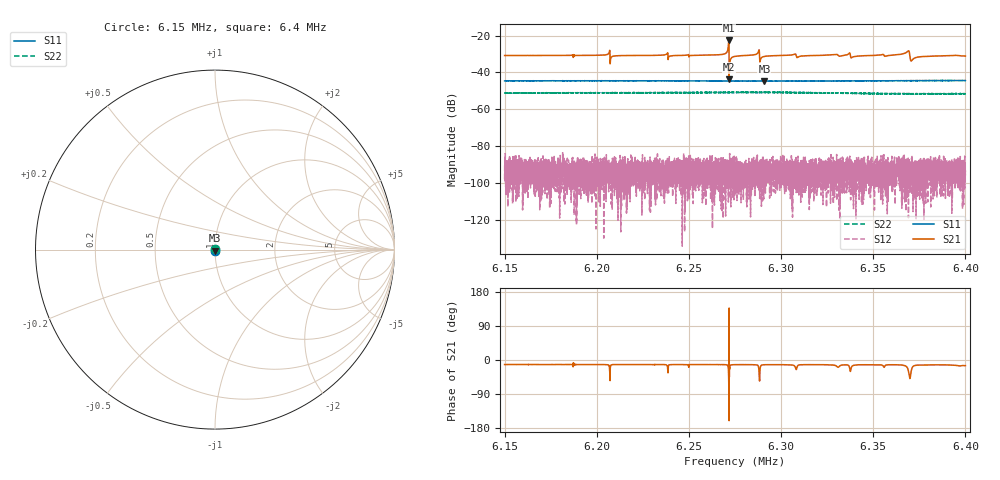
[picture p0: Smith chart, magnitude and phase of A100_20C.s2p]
!CETC41,AV3656A,ZGL00048,1.3.2
!Calibration ON (Full Solt 2-Port(Omit Isolation))
!Measurements: S11 S21 S12 S22
!2025-04-29 17:46
# Hz  S  dB  R 50.000
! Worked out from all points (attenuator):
!   6401 points, 6.15 MHz to 6.4 MHz, reference 50 ohm
!   highest |S21| = -22.63 dB at 6.2716 MHz (marker M1); lowest = -43.8 dB at 6.2718 MHz (marker M2)
!   lowest |S11| = -44.8 dB at 6.2909 MHz (marker M3), VSWR 1.01, Z = 49.9 - j0.574 ohm
!   |S11| at or under -10 dB: start of sweep to end of sweep
!   |S22| runs from -51.8 to -50.7 dB; largest |S21 - S12| = 0.074
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6150000  -44.59 -94.9  -30.81 -12.0  -97.99 -171.7  -51.24 105.8
6191680  -44.57 -93.5  -30.74 -12.0  -90.62 11.6  -51.04 104.8
6205898  -44.55 -93.8  -30.15 -12.4  -98.82 -142.6  -51.14 104.2
6208477  -44.54 -93.9  -31.29 -12.3  -87.65 114.9  -50.99 103.7
6233359  -44.57 -94.6  -30.67 -12.2  -92.92 139.0  -51.03 102.1
6266289  -44.64 -95.6  -30.38 -12.2  -99.67 -105.4  -51.01 103.8
6269414  -44.67 -96.1  -29.89 -12.3  -96.11 109.7  -50.97 103.7
6270508  -44.66 -95.8  -29.14 -12.9  -101.94 102.3  -50.85 103.2
6271641  -44.64 -96.0  -22.63 -68.3  -90.37 93.0  -50.83 104.2
6271836  -44.66 -96.0  -43.80 137.1  -87.92 118.6  -50.77 103.6
6273047  -44.61 -96.0  -32.13 -12.8  -88.97 161.1  -50.90 103.6
6275000  -44.68 -95.8  -31.26 -12.3  -92.47 22.7  -50.86 104.0
6286992  -44.68 -95.8  -29.83 -13.1  -92.35 -157.2  -50.89 104.8
6289531  -44.73 -96.0  -31.85 -13.4  -95.06 12.3  -50.87 104.9
6290938  -44.77 -96.1  -31.31 -12.6  -96.24 -152.9  -50.84 104.2
6316680  -44.67 -95.4  -30.84 -12.3  -104.82 103.1  -51.00 105.4
6338945  -44.59 -94.9  -31.59 -14.7  -97.19 98.8  -51.40 104.5
6358359  -44.53 -94.7  -30.80 -12.6  -93.79 53.7  -51.56 103.5
6368477  -44.49 -94.7  -28.74 -20.2  -99.36 10.8  -51.67 102.5
6371289  -44.48 -94.7  -33.08 -18.9  -89.14 -37.0  -51.62 103.2
6376680  -44.46 -94.7  -31.41 -13.4  -93.60 -50.1  -51.64 103.5
6400000  -44.41 -95.1  -31.12 -14.6  -93.20 -57.4  -51.61 103.9
